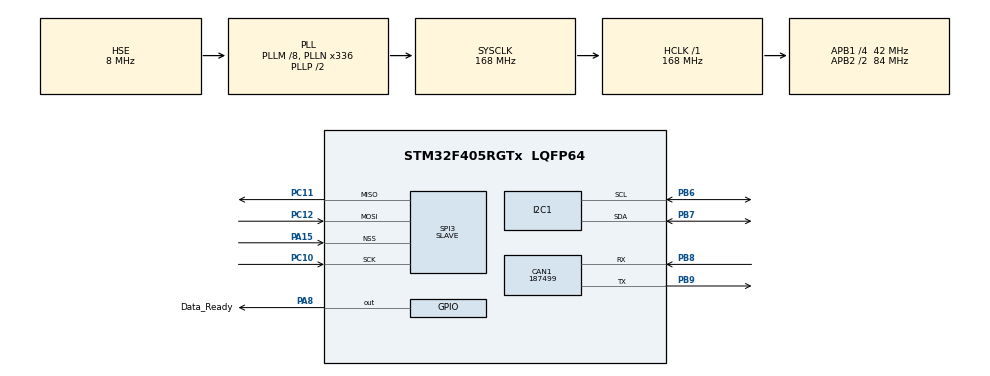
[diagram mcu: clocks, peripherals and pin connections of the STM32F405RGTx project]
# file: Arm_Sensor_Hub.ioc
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CAN1.BS1=CAN_BS1_11TQ
CAN1.BS2=CAN_BS2_2TQ
CAN1.CalculateBaudRate=187499
CAN1.CalculateTimeBit=5333
CAN1.CalculateTimeQuantum=380.95238095238096
Dma.Request0=SPI3_RX
Dma.Request1=SPI3_TX
Dma.SPI3_RX.0.Direction=DMA_PERIPH_TO_MEMORY
Dma.SPI3_RX.0.FIFOMode=DMA_FIFOMODE_DISABLE
Dma.SPI3_RX.0.Instance=DMA1_Stream0
Dma.SPI3_RX.0.MemDataAlignment=DMA_MDATAALIGN_BYTE
Dma.SPI3_RX.0.MemInc=DMA_MINC_ENABLE
Dma.SPI3_RX.0.Mode=DMA_NORMAL
Dma.SPI3_RX.0.PeriphDataAlignment=DMA_PDATAALIGN_BYTE
Dma.SPI3_RX.0.PeriphInc=DMA_PINC_DISABLE
Dma.SPI3_RX.0.Priority=DMA_PRIORITY_VERY_HIGH
Dma.SPI3_TX.1.Direction=DMA_MEMORY_TO_PERIPH
Dma.SPI3_TX.1.FIFOMode=DMA_FIFOMODE_DISABLE
Dma.SPI3_TX.1.Instance=DMA1_Stream5
Dma.SPI3_TX.1.MemDataAlignment=DMA_MDATAALIGN_BYTE
Dma.SPI3_TX.1.MemInc=DMA_MINC_ENABLE
Dma.SPI3_TX.1.Mode=DMA_NORMAL
Dma.SPI3_TX.1.PeriphDataAlignment=DMA_PDATAALIGN_BYTE
Dma.SPI3_TX.1.PeriphInc=DMA_PINC_DISABLE
Dma.SPI3_TX.1.Priority=DMA_PRIORITY_HIGH
FREERTOS.INCLUDE_xTaskGetHandle=1
FREERTOS.Tasks01=defaultTask,24,512,StartDefaultTask,Default,NULL,Dynamic,NULL,NULL
FREERTOS.configCHECK_FOR_STACK_OVERFLOW=2
I2C1.I2C_Mode=I2C_Fast
Mcu.Family=STM32F4
Mcu.Name=STM32F405RGTx
Mcu.Package=LQFP64
NVIC.DMA1_Stream0_IRQn=true\:5\:0\:true\:false\:true\:true\:false\:true\:true
NVIC.DMA1_Stream5_IRQn=true\:6\:0\:true\:false\:true\:true\:false\:true\:true
NVIC.PriorityGroup=NVIC_PRIORITYGROUP_4
NVIC.SPI3_IRQn=true\:5\:0\:false\:false\:true\:true\:true\:true\:true
NVIC.TIM6_DAC_IRQn=true\:15\:0\:false\:false\:true\:false\:false\:true\:true
NVIC.TimeBase=TIM6_DAC_IRQn
NVIC.TimeBaseIP=TIM6
PA13.Mode=Serial_Wire
PA13.Signal=SYS_JTMS-SWDIO
PA14.Mode=Serial_Wire
PA14.Signal=SYS_JTCK-SWCLK
PA15.Mode=NSS_Signal_Hard_Input
PA15.Signal=SPI3_NSS
PA8.GPIO_Label=Data_Ready
PA8.Signal=GPIO_Output
PB6.Mode=I2C
PB6.Signal=I2C1_SCL
PB7.Mode=I2C
PB7.Signal=I2C1_SDA
PB8.Mode=CAN_Activate
PB8.Signal=CAN1_RX
PB9.Mode=CAN_Activate
PB9.Signal=CAN1_TX
PC10.Mode=Full_Duplex_Slave
PC10.Signal=SPI3_SCK
PC11.Mode=Full_Duplex_Slave
PC11.Signal=SPI3_MISO
PC12.Mode=Full_Duplex_Slave
PC12.Signal=SPI3_MOSI
PH0-OSC_IN.Mode=HSE-External-Oscillator
PH0-OSC_IN.Signal=RCC_OSC_IN
PH1-OSC_OUT.Mode=HSE-External-Oscillator
PH1-OSC_OUT.Signal=RCC_OSC_OUT
ProjectManager.HeapSize=0x200
ProjectManager.StackSize=0x400
ProjectManager.TargetToolchain=CMake
RCC.48MHZClocksFreq_Value=48000000
RCC.AHBFreq_Value=168000000
RCC.APB1CLKDivider=RCC_HCLK_DIV4
RCC.APB1Freq_Value=42000000
RCC.APB1TimFreq_Value=84000000
RCC.APB2CLKDivider=RCC_HCLK_DIV2
RCC.APB2Freq_Value=84000000
RCC.APB2TimFreq_Value=168000000
RCC.CortexFreq_Value=168000000
RCC.EnbaleCSS=true
RCC.HCLKFreq_Value=168000000
RCC.HSE_VALUE=8000000
RCC.HSI_VALUE=16000000
RCC.LSE_VALUE=32768
RCC.PLLM=8
RCC.PLLN=336
RCC.PLLQ=7
RCC.PLLSourceVirtual=RCC_PLLSOURCE_HSE
RCC.SYSCLKFreq_VALUE=168000000
RCC.SYSCLKSource=RCC_SYSCLKSOURCE_PLLCLK
RCC.VCOOutputFreq_Value=336000000
SPI3.Direction=SPI_DIRECTION_2LINES
SPI3.Mode=SPI_MODE_SLAVE
SPI3.VirtualNSS=VM_NSSHARD
SPI3.VirtualType=VM_SLAVE
TIM2.Prescaler=83
VP_FREERTOS_VS_CMSIS_V2.Mode=CMSIS_V2
VP_SYS_VS_tim6.Mode=TIM6
VP_TIM2_VS_ClockSourceINT.Mode=Internal
board=custom

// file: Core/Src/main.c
/* USER CODE BEGIN Header */
/**
  ******************************************************************************
  * @file           : main.c
  * @brief          : Main program body
  ******************************************************************************
  * @attention
  *
  * Copyright (c) 2026 STMicroelectronics.
  * All rights reserved.
  *
  * This software is licensed under terms that can be found in the LICENSE file
  * in the root directory of this software component.
  * If no LICENSE file comes with this software, it is provided AS-IS.
  *
  ******************************************************************************
  */
/* USER CODE END Header */
#include "main.h"
#include "cmsis_os.h"

/* USER CODE BEGIN Includes */

#include "app_init.h"
#include "can_service.h"
#include "health_monitor.h"
#include "i2c_manager.h"
#include "sensor_task.h"
#include "spi_slave_service.h"
#include "stack_monitor.h"

/* USER CODE END Includes */

CAN_HandleTypeDef hcan1;

I2C_HandleTypeDef hi2c1;

SPI_HandleTypeDef hspi3;
DMA_HandleTypeDef hdma_spi3_rx;
DMA_HandleTypeDef hdma_spi3_tx;

TIM_HandleTypeDef htim2;

/* Definitions for defaultTask */
osThreadId_t defaultTaskHandle;
const osThreadAttr_t defaultTask_attributes = {
  .name = "defaultTask",
  .stack_size = 512 * 4,
  .priority = (osPriority_t) osPriorityNormal,
};

void SystemClock_Config(void);
static void MX_GPIO_Init(void);
static void MX_DMA_Init(void);
static void MX_I2C1_Init(void);
static void MX_SPI3_Init(void);
static void MX_CAN1_Init(void);
static void MX_TIM2_Init(void);
void StartDefaultTask(void *argument);

int main(void)
{

  /* MCU Configuration--------------------------------------------------------*/

  /* Reset of all peripherals, Initializes the Flash interface and the Systick. */
  HAL_Init();

  /* Configure the system clock */
  SystemClock_Config();

  /* Initialize all configured peripherals */
  MX_GPIO_Init();
  MX_DMA_Init();
  MX_I2C1_Init();
  MX_SPI3_Init();
  MX_CAN1_Init();
  MX_TIM2_Init();

  /* Init scheduler */
  osKernelInitialize();

  /* USER CODE BEGIN RTOS_MUTEX */
  /* add mutexes, ... */
  App_Init();
  /* USER CODE END RTOS_MUTEX */

  /* Create the thread(s) */
  /* creation of defaultTask */
  defaultTaskHandle = osThreadNew(StartDefaultTask, NULL, &defaultTask_attributes);

  /* Start scheduler */
  osKernelStart();

  /* We should never get here as control is now taken by the scheduler */

  /* Infinite loop */
  while (1)
  {

  }
}

void SystemClock_Config(void)
{
  RCC_OscInitTypeDef RCC_OscInitStruct = {0};
  RCC_ClkInitTypeDef RCC_ClkInitStruct = {0};

  /** Configure the main internal regulator output voltage
  */
  __HAL_RCC_PWR_CLK_ENABLE();
  __HAL_PWR_VOLTAGESCALING_CONFIG(PWR_REGULATOR_VOLTAGE_SCALE1);

  /** Initializes the RCC Oscillators according to the specified parameters
  * in the RCC_OscInitTypeDef structure.
  */
  RCC_OscInitStruct.OscillatorType = RCC_OSCILLATORTYPE_HSE;
  RCC_OscInitStruct.HSEState = RCC_HSE_ON;
  RCC_OscInitStruct.PLL.PLLState = RCC_PLL_ON;
  RCC_OscInitStruct.PLL.PLLSource = RCC_PLLSOURCE_HSE;
  RCC_OscInitStruct.PLL.PLLM = 8;
  RCC_OscInitStruct.PLL.PLLN = 336;
  RCC_OscInitStruct.PLL.PLLP = RCC_PLLP_DIV2;
  RCC_OscInitStruct.PLL.PLLQ = 7;
  if (HAL_RCC_OscConfig(&RCC_OscInitStruct) != HAL_OK)
  {
    Error_Handler();
  }

  /** Initializes the CPU, AHB and APB buses clocks
  */
  RCC_ClkInitStruct.ClockType = RCC_CLOCKTYPE_HCLK|RCC_CLOCKTYPE_SYSCLK
                              |RCC_CLOCKTYPE_PCLK1|RCC_CLOCKTYPE_PCLK2;
  RCC_ClkInitStruct.SYSCLKSource = RCC_SYSCLKSOURCE_PLLCLK;
  RCC_ClkInitStruct.AHBCLKDivider = RCC_SYSCLK_DIV1;
  RCC_ClkInitStruct.APB1CLKDivider = RCC_HCLK_DIV4;
  RCC_ClkInitStruct.APB2CLKDivider = RCC_HCLK_DIV2;

  if (HAL_RCC_ClockConfig(&RCC_ClkInitStruct, FLASH_LATENCY_5) != HAL_OK)
  {
    Error_Handler();
  }

  /** Enables the Clock Security System
  */
  HAL_RCC_EnableCSS();
}

static void MX_CAN1_Init(void)
{

  hcan1.Instance = CAN1;
  hcan1.Init.Prescaler = 16;
  hcan1.Init.Mode = CAN_MODE_NORMAL;
  hcan1.Init.SyncJumpWidth = CAN_SJW_1TQ;
  hcan1.Init.TimeSeg1 = CAN_BS1_11TQ;
  hcan1.Init.TimeSeg2 = CAN_BS2_2TQ;
  hcan1.Init.TimeTriggeredMode = DISABLE;
  hcan1.Init.AutoBusOff = DISABLE;
  hcan1.Init.AutoWakeUp = DISABLE;
  hcan1.Init.AutoRetransmission = DISABLE;
  hcan1.Init.ReceiveFifoLocked = DISABLE;
  hcan1.Init.TransmitFifoPriority = DISABLE;
  if (HAL_CAN_Init(&hcan1) != HAL_OK)
  {
    Error_Handler();
  }

}

static void MX_I2C1_Init(void)
{

  hi2c1.Instance = I2C1;
  hi2c1.Init.ClockSpeed = 400000;
  hi2c1.Init.DutyCycle = I2C_DUTYCYCLE_2;
  hi2c1.Init.OwnAddress1 = 0;
  hi2c1.Init.AddressingMode = I2C_ADDRESSINGMODE_7BIT;
  hi2c1.Init.DualAddressMode = I2C_DUALADDRESS_DISABLE;
  hi2c1.Init.OwnAddress2 = 0;
  hi2c1.Init.GeneralCallMode = I2C_GENERALCALL_DISABLE;
  hi2c1.Init.NoStretchMode = I2C_NOSTRETCH_DISABLE;
  if (HAL_I2C_Init(&hi2c1) != HAL_OK)
  {
    Error_Handler();
  }

}

static void MX_SPI3_Init(void)
{

  /* SPI3 parameter configuration*/
  hspi3.Instance = SPI3;
  hspi3.Init.Mode = SPI_MODE_SLAVE;
  hspi3.Init.Direction = SPI_DIRECTION_2LINES;
  hspi3.Init.DataSize = SPI_DATASIZE_8BIT;
  hspi3.Init.CLKPolarity = SPI_POLARITY_LOW;
  hspi3.Init.CLKPhase = SPI_PHASE_1EDGE;
  hspi3.Init.NSS = SPI_NSS_HARD_INPUT;
  hspi3.Init.FirstBit = SPI_FIRSTBIT_MSB;
  hspi3.Init.TIMode = SPI_TIMODE_DISABLE;
  hspi3.Init.CRCCalculation = SPI_CRCCALCULATION_DISABLE;
  hspi3.Init.CRCPolynomial = 10;
  if (HAL_SPI_Init(&hspi3) != HAL_OK)
  {
    Error_Handler();
  }

}

static void MX_TIM2_Init(void)
{

  TIM_ClockConfigTypeDef sClockSourceConfig = {0};
  TIM_MasterConfigTypeDef sMasterConfig = {0};

  htim2.Instance = TIM2;
  htim2.Init.Prescaler = 83;
  htim2.Init.CounterMode = TIM_COUNTERMODE_UP;
  htim2.Init.Period = 4294967295;
  htim2.Init.ClockDivision = TIM_CLOCKDIVISION_DIV1;
  htim2.Init.AutoReloadPreload = TIM_AUTORELOAD_PRELOAD_DISABLE;
  if (HAL_TIM_Base_Init(&htim2) != HAL_OK)
  {
    Error_Handler();
  }
  sClockSourceConfig.ClockSource = TIM_CLOCKSOURCE_INTERNAL;
  if (HAL_TIM_ConfigClockSource(&htim2, &sClockSourceConfig) != HAL_OK)
  {
    Error_Handler();
  }
  sMasterConfig.MasterOutputTrigger = TIM_TRGO_RESET;
  sMasterConfig.MasterSlaveMode = TIM_MASTERSLAVEMODE_DISABLE;
  if (HAL_TIMEx_MasterConfigSynchronization(&htim2, &sMasterConfig) != HAL_OK)
  {
    Error_Handler();
  }

}

static void MX_DMA_Init(void)
{

  /* DMA controller clock enable */
  __HAL_RCC_DMA1_CLK_ENABLE();

  /* DMA interrupt init */
  /* DMA1_Stream0_IRQn interrupt configuration */
  HAL_NVIC_SetPriority(DMA1_Stream0_IRQn, 5, 0);
  HAL_NVIC_EnableIRQ(DMA1_Stream0_IRQn);
  /* DMA1_Stream5_IRQn interrupt configuration */
  HAL_NVIC_SetPriority(DMA1_Stream5_IRQn, 6, 0);
  HAL_NVIC_EnableIRQ(DMA1_Stream5_IRQn);

}

static void MX_GPIO_Init(void)
{
  GPIO_InitTypeDef GPIO_InitStruct = {0};

  /* GPIO Ports Clock Enable */
  __HAL_RCC_GPIOH_CLK_ENABLE();
  __HAL_RCC_GPIOA_CLK_ENABLE();
  __HAL_RCC_GPIOC_CLK_ENABLE();
  __HAL_RCC_GPIOB_CLK_ENABLE();

  /*Configure GPIO pin Output Level */
  HAL_GPIO_WritePin(Data_Ready_GPIO_Port, Data_Ready_Pin, GPIO_PIN_RESET);

  /*Configure GPIO pin : Data_Ready_Pin */
  GPIO_InitStruct.Pin = Data_Ready_Pin;
  GPIO_InitStruct.Mode = GPIO_MODE_OUTPUT_PP;
  GPIO_InitStruct.Pull = GPIO_NOPULL;
  GPIO_InitStruct.Speed = GPIO_SPEED_FREQ_LOW;
  HAL_GPIO_Init(Data_Ready_GPIO_Port, &GPIO_InitStruct);

}

void StartDefaultTask(void *argument)
{
  /* USER CODE BEGIN 5 */
  App_Start();

  /* Infinite loop */
  for(;;)
  {
    SensorTask_Process();
    CanService_Process();
    SpiSlaveService_Process();
    HealthMonitor_Process();
    StackMonitor_Process();
    osDelay(1);
  }
  /* USER CODE END 5 */
}

void HAL_TIM_PeriodElapsedCallback(TIM_HandleTypeDef *htim)
{
  if (htim->Instance == TIM6)
  {
    HAL_IncTick();
  }
}

void Error_Handler(void)
{
  __disable_irq();
  while (1)
  {
  }
}

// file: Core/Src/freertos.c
/* USER CODE BEGIN Header */
/**
  ******************************************************************************
  * File Name          : freertos.c
  * Description        : Code for freertos applications
  ******************************************************************************
  * @attention
  *
  * Copyright (c) 2026 STMicroelectronics.
  * All rights reserved.
  *
  * This software is licensed under terms that can be found in the LICENSE file
  * in the root directory of this software component.
  * If no LICENSE file comes with this software, it is provided AS-IS.
  *
  ******************************************************************************
  */
/* USER CODE END Header */

#include "FreeRTOS.h"
#include "task.h"
#include "main.h"

/* USER CODE BEGIN Includes */
#include "stack_monitor.h"
/* USER CODE END Includes */

/* Hook prototypes */
void vApplicationStackOverflowHook(xTaskHandle xTask, signed char *pcTaskName);

/* USER CODE BEGIN 4 */
void vApplicationStackOverflowHook(xTaskHandle xTask, signed char *pcTaskName)
{
   /* Run time stack overflow checking is performed if
   configCHECK_FOR_STACK_OVERFLOW is defined to 1 or 2. This hook function is
   called if a stack overflow is detected. */
   (void)xTask;
   StackMonitor_OnOverflow((const char *)pcTaskName);
}
/* USER CODE END 4 */
